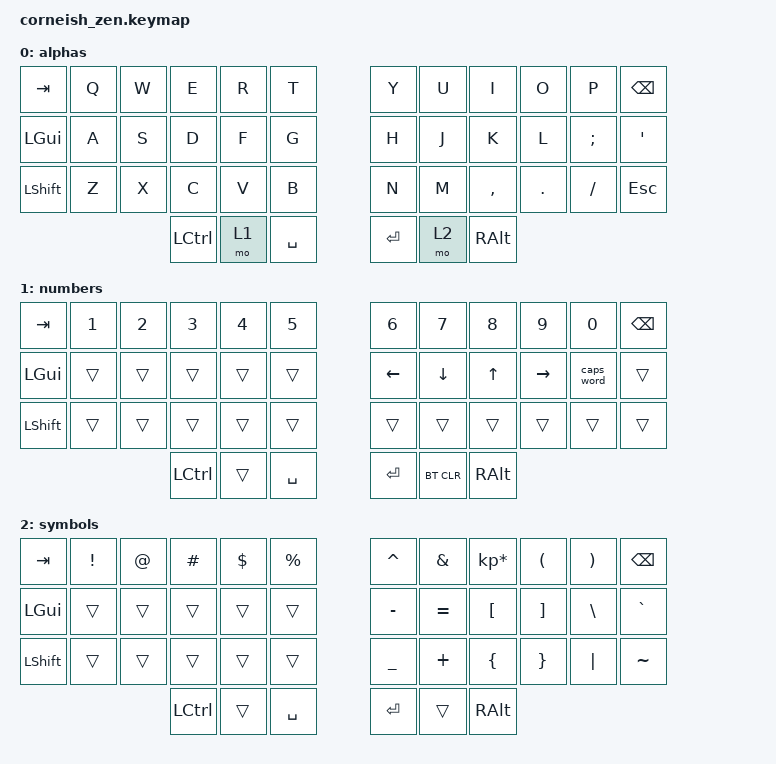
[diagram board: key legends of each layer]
#include <behaviors.dtsi>
#include <dt-bindings/zmk/keys.h>
#include <dt-bindings/zmk/bt.h>

/ {
  chosen {
    zmk,matrix_transform = &default_transform;
  };
};

// minor mods

&caps_word {
        continue-list = <UNDERSCORE MINUS>;
};

#define COMBO(NAME, KEYPOS) \
        combo_##NAME {\
                timeout-ms = <40>; \
                key-positions = <KEYPOS>; \
                bindings = <&kp NAME>; \
        };

/ {
        combos {
                compatible = "zmk,combos";
                COMBO(RGUI, 21 22)
                COMBO(RSHIFT, 20 21)
                COMBO(LCTRL, 19 22)
        };
};

/ {  behaviors {
        hm: homerow_mods {
            compatible = "zmk,behavior-hold-tap";
            label = "HOMEROW_MODS";
            #binding-cells = <2>;
            tapping-term-ms = <120>;
            quick-tap-ms = <0>;
            flavor = "tap-unless-interrupted";
            bindings = <&kp>, <&kp>;
        };
    };
};

/ {
        keymap {
                compatible = "zmk,keymap";

                default_layer {
                        label = "alphas";
// -----------------------------------------------------------------------------------------
// |  TAB |  Q  |  W  |  E  |  R  |  T  |   |  Y  |  U   |  I  |  O  |  P  | BKSP |
// | GUI  |  A  |  S  |  D  |  F  |  G  |   |  H  |  J   |  K  |  L  |  ;  |  '   |
// | SHFT |  Z  |  X  |  C  |  V  |  B  |   |  N  |  M   |  ,  |  .  |  /  | ESC  |
//                    | CTRL| LWR | SPC |   | ENT | RSE  | ALT |
                        bindings = <
   &kp TAB   &kp Q &kp W &kp E &kp R &kp T   &kp Y &kp U  &kp I     &kp O   &kp P    &kp BSPC
   &kp LGUI  &kp A &kp S &kp D &kp F &kp G   &kp H &kp J  &kp K &kp L &kp SEMI &kp SQT
   &kp LSHFT &kp Z &kp X &kp C &kp V &kp B   &kp N &kp M  &kp COMMA &kp DOT &kp FSLH &kp ESC
                  &kp LCTRL &mo 1 &kp SPACE   &kp RET &mo 2 &kp RALT
                        >;
                };
                lower_layer {
                        label = "numbers";
// -----------------------------------------------------------------------------------------
// |  TAB |  1  |  2  |  3  |  4  |  5  |   |  6  |  7  |  8  |  9  |  0      | BKSP |
// |      |     |     |     |     |     |   | LFT | DWN |  UP | RGT |caps_word|      |
// | SHFT |     |     |     |     |     |   |     |     |     |     |         |      |
//                    | CTRL|     | SPC |   | ENT |bt_clear| ALT |
                        bindings = <
   &kp TAB    &kp N1       &kp N2       &kp N3       &kp N4       &kp N5         &kp N6   &kp N7   &kp N8 &kp N9    &kp N0 &kp BSPC
   &kp LGUI   &trans       &trans       &trans       &trans       &trans         &kp LEFT &kp DOWN &kp UP &kp RIGHT &caps_word &trans
   &kp LSHFT  &trans       &trans       &trans       &trans       &trans         &trans   &trans   &trans &trans    &trans &trans
                          	        &kp LCTRL    &trans       &kp SPACE      &kp RET  &bt BT_CLR   &kp RALT
                        >;
                };

                raise_layer {
                        label = "symbols";
// -----------------------------------------------------------------------------------------
// |  TAB |  !  |  @  |  #  |  $  |  %  |   |  ^  |  &  |  *  |  (  |  )  | BKSP |
// | GUI  |     |     |     |     |     |   |  -  |  =  |  [  |  ]  |  \  |  `   |
// | SHFT |     |     |     |     |     |   |  _  |  +  |  {  |  }  | "|" |  ~   |
//                    | CTRL|     | SPC |   | ENT |     | ALT |
                        bindings = <
   &kp TAB   &kp EXCL &kp AT &kp HASH  &kp DLLR &kp PRCNT   &kp CARET &kp AMPS  &kp KP_MULTIPLY &kp LPAR &kp RPAR &kp BSPC
   &kp LGUI  &trans   &trans &trans    &trans   &trans      &kp MINUS &kp EQUAL &kp LBKT        &kp RBKT &kp BSLH &kp GRAVE
   &kp LSHFT &trans   &trans &trans    &trans   &trans      &kp UNDER &kp PLUS  &kp LBRC        &kp RBRC &kp PIPE &kp TILDE
                    	     &kp LCTRL &trans   &kp SPACE   &kp RET   &trans    &kp RALT
                        >;
                };
        };
};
